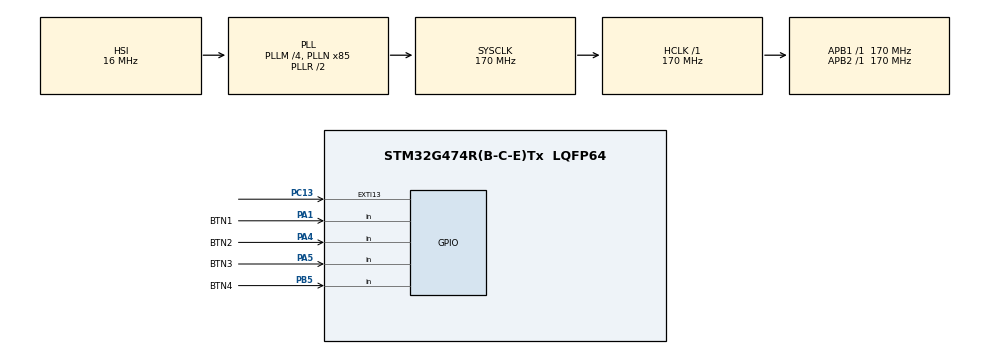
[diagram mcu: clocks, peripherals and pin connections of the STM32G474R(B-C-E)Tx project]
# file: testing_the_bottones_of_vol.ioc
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Mcu.Family=STM32G4
Mcu.Name=STM32G474R(B-C-E)Tx
Mcu.Package=LQFP64
NUCLEO-G474RE.BUTTON=1
NUCLEO-G474RE.Bsp_Common_DEMO=true
NUCLEO-G474RE.LD2=true
NUCLEO-G474RE.VCP=true
NVIC.EXTI15_10_IRQn=true\:0\:0\:false\:false\:true\:true\:true\:true
NVIC.PriorityGroup=NVIC_PRIORITYGROUP_4
PA1.GPIO_Label=BTN1
PA1.GPIO_PuPd=GPIO_PULLUP
PA1.Signal=GPIO_Input
PA13.GPIO_Label=T_SWDIO
PA13.Signal=SYS_JTMS-SWDIO
PA14.GPIO_Label=T_SWCLK
PA14.Signal=SYS_JTCK-SWCLK
PA2.Signal=LPUART1_TX
PA3.Signal=LPUART1_RX
PA4.GPIO_Label=BTN2
PA4.GPIO_PuPd=GPIO_PULLUP
PA4.Signal=GPIO_Input
PA5.GPIO_Label=BTN3
PA5.GPIO_PuPd=GPIO_PULLUP
PA5.Signal=GPIO_Input
PB3.GPIO_Label=T_SWO
PB3.Signal=SYS_JTDO-SWO
PB5.GPIO_Label=BTN4
PB5.GPIO_PuPd=GPIO_PULLUP
PB5.Signal=GPIO_Input
PC13.Signal=GPXTI13
PC14-OSC32_IN.GPIO_Label=RCC_OSC32_IN
PC14-OSC32_IN.Signal=RCC_OSC32_IN
PC15-OSC32_OUT.GPIO_Label=RCC_OSC32_OUT
PC15-OSC32_OUT.Signal=RCC_OSC32_OUT
PF0-OSC_IN.GPIO_Label=RCC_OSC_IN
PF0-OSC_IN.Signal=RCC_OSC_IN
PF1-OSC_OUT.GPIO_Label=RCC_OSC_OUT
PF1-OSC_OUT.Signal=RCC_OSC_OUT
ProjectManager.HeapSize=0x200
ProjectManager.StackSize=0x400
ProjectManager.TargetToolchain=STM32CubeIDE
RCC.ADC12Freq_Value=170000000
RCC.ADC345Freq_Value=170000000
RCC.AHBFreq_Value=170000000
RCC.APB1Freq_Value=170000000
RCC.APB1TimFreq_Value=170000000
RCC.APB2Freq_Value=170000000
RCC.APB2TimFreq_Value=170000000
RCC.CortexFreq_Value=170000000
RCC.EXTERNAL_CLOCK_VALUE=12288000
RCC.HCLKFreq_Value=170000000
RCC.HSE_VALUE=24000000
RCC.HSI48_VALUE=48000000
RCC.HSI_VALUE=16000000
RCC.LSE_VALUE=32768
RCC.PLLM=RCC_PLLM_DIV4
RCC.PLLN=85
RCC.RTCClockSelection=RCC_RTCCLKSOURCE_LSE
RCC.SYSCLKFreq_VALUE=170000000
RCC.SYSCLKSource=RCC_SYSCLKSOURCE_PLLCLK
RCC.USBFreq_Value=170000000
RCC.VCOOutputFreq_Value=340000000
VP_NUCLEO-G474RE_VS_BSP_COMMON.Mode=COMMON
VP_SYS_VS_DBSignals.Mode=DisableDeadBatterySignals
board=NUCLEO-G474RE

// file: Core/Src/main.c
/* USER CODE BEGIN Header */
/**
  ******************************************************************************
  * @file           : main.c
  * @brief          : Main program body
  ******************************************************************************
  * @attention
  *
  * Copyright (c) 2026 STMicroelectronics.
  * All rights reserved.
  *
  * This software is licensed under terms that can be found in the LICENSE file
  * in the root directory of this software component.
  * If no LICENSE file comes with this software, it is provided AS-IS.
  *
  ******************************************************************************
  */
/* USER CODE END Header */
#include "main.h"

/* USER CODE BEGIN Includes */
#include <stdio.h>
#include <string.h>
//defineciones
#define MODER_PC ((3U << (0 * 2)) | (3U << (1 * 2)) | (3U << (2 * 2))| (3U << (3 * 2)) | (3U << (4 * 2)) | (3U << (5 * 2)) | (3U << (6 * 2)) | (3U << (7 * 2))| (3U << (8 * 2)) | (3U << (9 * 2)))
#define PUPDR_PC ((2U << (0 * 2)) | (2U << (1 * 2)) | (2U << (2 * 2))| (2U << (3 * 2)) | (2U << (4 * 2)) | (2U << (5 * 2)) | (2U << (6 * 2)) | (2U << (7 * 2))| (2U << (8 * 2)) | (2U << (9 * 2)))

/* USER CODE END Includes */

COM_InitTypeDef BspCOMInit;
__IO uint32_t BspButtonState = BUTTON_RELEASED;

void SystemClock_Config(void);
static void MX_GPIO_Init(void);

/* USER CODE BEGIN 0 */
void botton_init(){
	//0.abelertsr el reloj de PAy PB, PC
		RCC->AHB2ENR |= (RCC_AHB2ENR_GPIOAEN | RCC_AHB2ENR_GPIOBEN | RCC_AHB2ENR_GPIOCEN);      // Reloj para PA1, PA4 y PA5, PB5, y los de PC

	// 1.Configurar PA1, 5, 4 y PB4 como Entrada con resistencia Pull-Down
	    GPIOA->MODER &= ~((3U << (1 * 2)) | (3U << (4 * 2)) | (3U << (5 * 2))); // Modo Entrada (00) PA
		GPIOA->PUPDR &= ~((3U << (1 * 2)) | (3U << (4 * 2)) | (3U << (5 * 2))); // Limpiar configuración previa
		GPIOA->PUPDR |=  ((2U << (1 * 2)) | (2U << (4 * 2)) | (2U << (5 * 2))); // Activar resistencia Pull-Down (0)

	    GPIOB->MODER &= ~(3U << (5 * 2));         // Modo Entrada (00) para PB4
		GPIOB->PUPDR &= ~(3U << (5 * 2));         // Limpiar configuración previa
		GPIOB->PUPDR |=  (2U << (5 * 2));         // Activar resistencia Pull-Down (0)
	//2. Configuracion PC0 hasta PC9 como entradas PULL-Down
		GPIOC->MODER &= ~(MODER_PC); // Modo Entrada (00) PA
		GPIOC->PUPDR &= ~(MODER_PC); // Limpiar configuración previa
		GPIOC->PUPDR |=  (PUPDR_PC); // Activar resistencia Pull-Down (0)

}
// Función que escanea todos los botones del volante
uint8_t Leer_Botones(void) {

	//--- Los 4 Botones Traseras ---
		if ((GPIOA->IDR & (1 << 1)) != 0) return 1; // PA1 -> Botón 1
		if ((GPIOA->IDR & (1 << 4)) != 0) return 2; // PA4 -> Botón 2
		if ((GPIOA->IDR & (1 << 5)) != 0) return 3; // PA5 -> Botón 3
		if ((GPIOB->IDR & (1 << 5)) != 0) return 4; // PB4 -> Botón 4

    // --- LOS 5 DE LA IZQUIERDA (PC0 a PC4) ---
        if ((GPIOC->IDR & (1 << 0)) != 0) return 5; // PC0
        if ((GPIOC->IDR & (1 << 1)) != 0) return 6; // PC1
        if ((GPIOC->IDR & (1 << 2)) != 0) return 7; // PC2
        if ((GPIOC->IDR & (1 << 3)) != 0) return 8; // PC3
        if ((GPIOC->IDR & (1 << 4)) != 0) return 9; // PC4

    // --- LOS 5 DE LA DERECHA (PC5 a PC9) ---
        if ((GPIOC->IDR & (1 << 5)) != 0) return 10; // PC5
        if ((GPIOC->IDR & (1 << 6)) != 0) return 11; // PC6
        if ((GPIOC->IDR & (1 << 7)) != 0) return 12; // PC7
        if ((GPIOC->IDR & (1 << 8)) != 0) return 13; // PC8
        if ((GPIOC->IDR & (1 << 9)) != 0) return 14; // PC9

    return 0; // Si llega aquí, es que no hay nada pulsado
}

/* USER CODE END 0 */

int main(void)
{

  /* USER CODE BEGIN 1 */
	uint8_t current_state[4] = {1, 1, 1, 1};
	uint8_t previous_state[4] = {1, 1, 1, 1};

  /* USER CODE END 1 */

  /* MCU Configuration--------------------------------------------------------*/

  /* Reset of all peripherals, Initializes the Flash interface and the Systick. */
  HAL_Init();

  /* Configure the system clock */
  SystemClock_Config();

  /* Initialize all configured peripherals */
  MX_GPIO_Init();
  /* USER CODE BEGIN 2 */
  	botton_init(); // <--- IMPORTANTE: Inicializa los 14 pines
    printf("--- DEBUG DE 14 BOTONES HELIOS INICIADO ---\r\n");
  /* USER CODE END 2 */

  /* Initialize led */
  //BSP_LED_Init(LED_GREEN);

  /* Initialize USER push-button, will be used to trigger an interrupt each time it's pressed.*/
  // BSP_PB_Init(BUTTON_USER, BUTTON_MODE_EXTI);

  /* Initialize COM1 port (115200, 8 bits (7-bit data + 1 stop bit), no parity */
  BspCOMInit.BaudRate   = 115200;
  BspCOMInit.WordLength = COM_WORDLENGTH_8B;
  BspCOMInit.StopBits   = COM_STOPBITS_1;
  BspCOMInit.Parity     = COM_PARITY_NONE;
  BspCOMInit.HwFlowCtl  = COM_HWCONTROL_NONE;
  if (BSP_COM_Init(COM1, &BspCOMInit) != BSP_ERROR_NONE)
  {
    Error_Handler();
  }

  /* USER CODE BEGIN BSP */

  /* -- Sample board code to send message over COM1 port ---- */
  printf("Welcome to STM32 world !\n\r");
  int boton_anterior = 0;
  /* -- Sample board code to switch on led ---- */
 /* BSP_LED_On(LED_GREEN);*/

  /* USER CODE END BSP */

  /* Infinite loop */
  /* USER CODE BEGIN WHILE */
  while (1)
  {

    /* -- Sample board code for User push-button in interrupt mode ---- */
   /* if (BspButtonState == BUTTON_PRESSED)
    {
      /* Update button state */
      //BspButtonState = BUTTON_RELEASED;
      /* -- Sample board code to toggle led ---- */
      //BSP_LED_Toggle(LED_GREEN);

      /* ..... Perform your action ..... */
    //}
    /* USER CODE END WHILE */
    /* USER CODE BEGIN 3 */
  /*  // 1. Leer los 4 pines
        current_state[0] = HAL_GPIO_ReadPin(GPIOA, GPIO_PIN_1); // PA1
        current_state[1] = HAL_GPIO_ReadPin(GPIOA, GPIO_PIN_4); // PA4
        current_state[2] = HAL_GPIO_ReadPin(GPIOA, GPIO_PIN_5); // PA5
        current_state[3] = HAL_GPIO_ReadPin(GPIOB, GPIO_PIN_5); // PB5

    // 2. Comprobar si algún botón se ha pulsado o soltado
      for (int i = 0; i < 4; i++) {
          if (current_state[i] != previous_state[i]) {
              switch(i) {
                  case 0:
                      printf("PA1: %d\r\n", current_state[0]);
                      break;
                  case 1:
                      printf("PA4: %d\r\n", current_state[1]);
                      break;
                  case 2:
                      printf("PA5: %d\r\n", current_state[2]);
                      break;
                  case 3:
                      printf("PB5: %d\r\n", current_state[3]);
                      break;
              }
          }
      }
    // 3. Guardar el estado actual
      for (int i = 0; i < 4; i++) {
          previous_state[i] = current_state[i];
      }*/
      /*
        if (current_state[0] == previous_state[0] ||
            current_state[1] == previous_state[1] ||
            current_state[2] == previous_state[2] ||
            current_state[3] == previous_state[3])
        {
            // 3. ¡LA MAGIA DEL BSP! Usamos printf directamente para enviar a Hercules
            printf("PA1: %d | PA4: %d | PA5: %d | PB5: %d\r\n",
                   current_state[0], current_state[1], current_state[2], current_state[3]);

            // 4. Guardar el estado actual para la siguiente vuelta
            previous_state[0] = current_state[0];
            previous_state[1] = current_state[1];
            previous_state[2] = current_state[2];
            previous_state[3] = current_state[3];
        }

        // 5. Pequeña pausa para evitar rebotes eléctricos del botón
        HAL_Delay(10);*/

  // 1. Escaneamos todos los botones (PA1-5, PB5, PC0-9)
      int boton_actual = Leer_Botones();

      // 2. Si el botón que leo es diferente al que leí antes...
      if (boton_actual != boton_anterior)
      {
        if (boton_actual != 0)
        {
          // Se ha pulsado un botón
          printf("BOTON PULSADO: %d ", boton_actual);

          // Debug específico para que sepas qué pin es en el terminal
          if (boton_actual <= 3) printf("(Puerto A)\r\n");
          else if (boton_actual == 4) printf("(Puerto B)\r\n");
          else if (boton_actual <= 9) printf("(Puerto C IZQ)\r\n");
          else printf("(Puerto C DER)\r\n");
        }
        else
        {
          // Se ha soltado el botón
          printf("BOTON SOLTADO (Ninguno activo)\r\n");
        }

        // 3. Actualizamos el estado anterior
        boton_anterior = boton_actual;
      }

      // 4. Pausa de 20ms para el "Debounce" (evita que el ruido eléctrico mande 100 mensajes)
      HAL_Delay(20);

  }
  /* USER CODE END 3 */
}

void SystemClock_Config(void)
{
  RCC_OscInitTypeDef RCC_OscInitStruct = {0};
  RCC_ClkInitTypeDef RCC_ClkInitStruct = {0};

  /** Configure the main internal regulator output voltage
  */
  HAL_PWREx_ControlVoltageScaling(PWR_REGULATOR_VOLTAGE_SCALE1_BOOST);

  /** Initializes the RCC Oscillators according to the specified parameters
  * in the RCC_OscInitTypeDef structure.
  */
  RCC_OscInitStruct.OscillatorType = RCC_OSCILLATORTYPE_HSI;
  RCC_OscInitStruct.HSIState = RCC_HSI_ON;
  RCC_OscInitStruct.HSICalibrationValue = RCC_HSICALIBRATION_DEFAULT;
  RCC_OscInitStruct.PLL.PLLState = RCC_PLL_ON;
  RCC_OscInitStruct.PLL.PLLSource = RCC_PLLSOURCE_HSI;
  RCC_OscInitStruct.PLL.PLLM = RCC_PLLM_DIV4;
  RCC_OscInitStruct.PLL.PLLN = 85;
  RCC_OscInitStruct.PLL.PLLP = RCC_PLLP_DIV2;
  RCC_OscInitStruct.PLL.PLLQ = RCC_PLLQ_DIV2;
  RCC_OscInitStruct.PLL.PLLR = RCC_PLLR_DIV2;
  if (HAL_RCC_OscConfig(&RCC_OscInitStruct) != HAL_OK)
  {
    Error_Handler();
  }

  /** Initializes the CPU, AHB and APB buses clocks
  */
  RCC_ClkInitStruct.ClockType = RCC_CLOCKTYPE_HCLK|RCC_CLOCKTYPE_SYSCLK
                              |RCC_CLOCKTYPE_PCLK1|RCC_CLOCKTYPE_PCLK2;
  RCC_ClkInitStruct.SYSCLKSource = RCC_SYSCLKSOURCE_PLLCLK;
  RCC_ClkInitStruct.AHBCLKDivider = RCC_SYSCLK_DIV1;
  RCC_ClkInitStruct.APB1CLKDivider = RCC_HCLK_DIV1;
  RCC_ClkInitStruct.APB2CLKDivider = RCC_HCLK_DIV1;

  if (HAL_RCC_ClockConfig(&RCC_ClkInitStruct, FLASH_LATENCY_4) != HAL_OK)
  {
    Error_Handler();
  }
}

static void MX_GPIO_Init(void)
{
  GPIO_InitTypeDef GPIO_InitStruct = {0};

  /* GPIO Ports Clock Enable */
  __HAL_RCC_GPIOC_CLK_ENABLE();
  __HAL_RCC_GPIOF_CLK_ENABLE();
  __HAL_RCC_GPIOA_CLK_ENABLE();
  __HAL_RCC_GPIOB_CLK_ENABLE();

  /*Configure GPIO pins : BTN1_Pin BTN2_Pin BTN3_Pin */
  GPIO_InitStruct.Pin = BTN1_Pin|BTN2_Pin|BTN3_Pin;
  GPIO_InitStruct.Mode = GPIO_MODE_INPUT;
  GPIO_InitStruct.Pull = GPIO_PULLUP;
  HAL_GPIO_Init(GPIOA, &GPIO_InitStruct);

  /*Configure GPIO pin : BTN4_Pin */
  GPIO_InitStruct.Pin = BTN4_Pin;
  GPIO_InitStruct.Mode = GPIO_MODE_INPUT;
  GPIO_InitStruct.Pull = GPIO_PULLUP;
  HAL_GPIO_Init(BTN4_GPIO_Port, &GPIO_InitStruct);

}

/**
  * @brief BSP Push Button callback
  * @param Button Specifies the pressed button
  * @retval None
  */
void BSP_PB_Callback(Button_TypeDef Button)
{
  if (Button == BUTTON_USER)
  {
    BspButtonState = BUTTON_PRESSED;
  }
}

void Error_Handler(void)
{
  __disable_irq();
  while (1)
  {
  }
}
